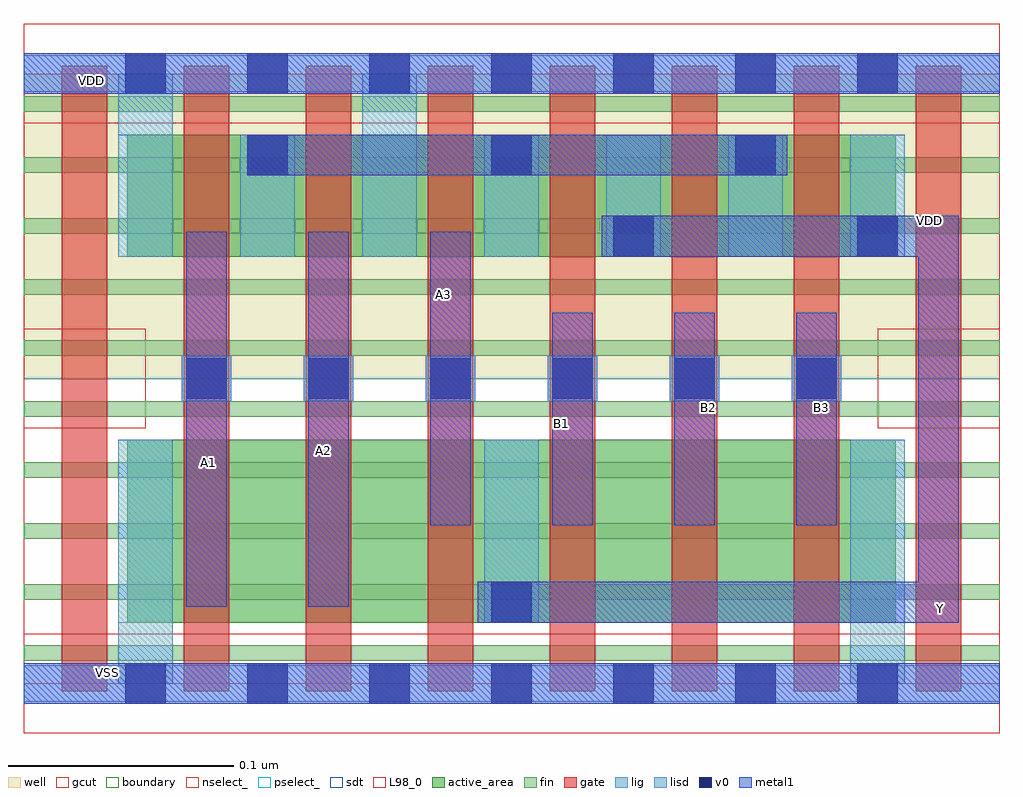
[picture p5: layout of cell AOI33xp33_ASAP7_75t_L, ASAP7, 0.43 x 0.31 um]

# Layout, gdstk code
import gdstk
lib = gdstk.Library(unit=1e-6, precision=2.5e-10)
def R(c, l, rs):  # rectangles x0, y0, x1, y1
    for r in rs: c.add(gdstk.rectangle(r[:2], r[2:], *l))
def A(c, l, x, y, w, h, nx, ny, dx, dy):  # array of equal rectangles
    R(c, l, [(x+i*dx, y+j*dy, x+i*dx+w, y+j*dy+h) for i in range(nx) for j in range(ny)])
def P(c, l, *ps):  # polygons
    for p in ps: c.add(gdstk.Polygon(p, *l))
well = (1, 0)
fin = (2, 0)
gate = (7, 0)
gcut = (10, 0)
active_area = (11, 0)
nselect_ = (12, 0)
pselect_ = (13, 0)
lig = (16, 0)
lisd = (17, 0)
v0 = (18, 0)
metal1 = (19, 0)
sdt = (88, 0)
L98_0 = (98, 0)
boundary = (100, 0)

aoi33xp33_asap7_75t_l = lib.new_cell('AOI33xp33_ASAP7_75t_L')
R(aoi33xp33_asap7_75t_l, well, [(0,0.135,0.432,0.27)])
A(aoi33xp33_asap7_75t_l, fin, 0, 0.01, 0.432, 0.007, 1, 10, 0, 0.027)
A(aoi33xp33_asap7_75t_l, gate, 0.017, -0.0035, 0.02, 0.277, 8, 1, 0.054, 0)
R(aoi33xp33_asap7_75t_l, gcut, [(0,-0.022,0.432,0.022), (0,0.113,0.054,0.157), (0.378,0.113,0.432,0.157), (0,0.248,0.432,0.292)])
R(aoi33xp33_asap7_75t_l, active_area, [(0.046,0.027,0.386,0.108), (0.046,0.189,0.386,0.243)])
R(aoi33xp33_asap7_75t_l, nselect_, [(0,0,0.432,0.135)])
R(aoi33xp33_asap7_75t_l, pselect_, [(0,0.135,0.432,0.27)])
A(aoi33xp33_asap7_75t_l, lig, 0.07, 0.125, 0.022, 0.02, 6, 1, 0.054, 0)
R(aoi33xp33_asap7_75t_l, lig, [(0,-0.008,0.432,0.008), (0,0.262,0.432,0.278)])
A(aoi33xp33_asap7_75t_l, lisd, 0.204, 0.189, 0.024, 0.054, 4, 1, 0.054, 0)
R(aoi33xp33_asap7_75t_l, lisd, [(0.042,0,0.066,0.108), (0.366,0,0.39,0.108), (0.204,0.027,0.228,0.108), (0.042,0.189,0.066,0.27), (0.096,0.189,0.12,0.243), (0.15,0.189,0.174,0.27)])
A(aoi33xp33_asap7_75t_l, v0, 0.045, -0.009, 0.018, 0.018, 7, 2, 0.054, 0.27)
A(aoi33xp33_asap7_75t_l, v0, 0.072, 0.126, 0.018, 0.018, 6, 1, 0.054, 0)
A(aoi33xp33_asap7_75t_l, v0, 0.099, 0.225, 0.018, 0.018, 3, 1, 0.108, 0)
R(aoi33xp33_asap7_75t_l, v0, [(0.207,0.027,0.225,0.045), (0.261,0.189,0.279,0.207), (0.369,0.189,0.387,0.207)])
A(aoi33xp33_asap7_75t_l, metal1, 0.234, 0.07, 0.018, 0.094, 3, 1, 0.054, 0)
R(aoi33xp33_asap7_75t_l, metal1, [(0,-0.009,0.432,0.009), (0.072,0.034,0.09,0.2), (0.126,0.034,0.144,0.2), (0.18,0.07,0.198,0.2), (0.099,0.225,0.338,0.243), (0,0.261,0.432,0.279)])
P(aoi33xp33_asap7_75t_l, metal1, [(0.414,0.207),(0.256,0.207),(0.256,0.189),(0.396,0.189),(0.396,0.045),(0.201,0.045),(0.201,0.027),(0.414,0.027)])
A(aoi33xp33_asap7_75t_l, sdt, 0.042, 0.027, 0.024, 0.081, 3, 1, 0.162, 0)
A(aoi33xp33_asap7_75t_l, sdt, 0.042, 0.189, 0.024, 0.054, 7, 1, 0.054, 0)
R(aoi33xp33_asap7_75t_l, L98_0, [(0,0,0.432,0.27)])
R(aoi33xp33_asap7_75t_l, boundary, [(0,0,0.432,0.27)])
aoi33xp33_asap7_75t_l.add(gdstk.Label('B1', (0.238,0.115), layer=19, texttype=251))
aoi33xp33_asap7_75t_l.add(gdstk.Label('A3', (0.186,0.172), layer=19, texttype=251))
aoi33xp33_asap7_75t_l.add(gdstk.Label('B2', (0.303,0.122), layer=19, texttype=251))
aoi33xp33_asap7_75t_l.add(gdstk.Label('A2', (0.133,0.103), layer=19, texttype=251))
aoi33xp33_asap7_75t_l.add(gdstk.Label('A1', (0.082,0.098), layer=19, texttype=251))
aoi33xp33_asap7_75t_l.add(gdstk.Label('VSS', (0.037,0.005), layer=19, texttype=251))
aoi33xp33_asap7_75t_l.add(gdstk.Label('VDD', (0.03,0.267), layer=19, texttype=251))
aoi33xp33_asap7_75t_l.add(gdstk.Label('B3', (0.353,0.122), layer=19, texttype=251))
aoi33xp33_asap7_75t_l.add(gdstk.Label('Y', (0.406,0.033), layer=19, texttype=251))
aoi33xp33_asap7_75t_l.add(gdstk.Label('VDD', (0.401,0.205), layer=1, texttype=251))
aoi33xp33_asap7_75t_l.add(gdstk.Label('VSS', (0.47,0.204), layer=3, texttype=251))

lib.write_gds('AOI33xp33_ASAP7_75t_L.gds')
